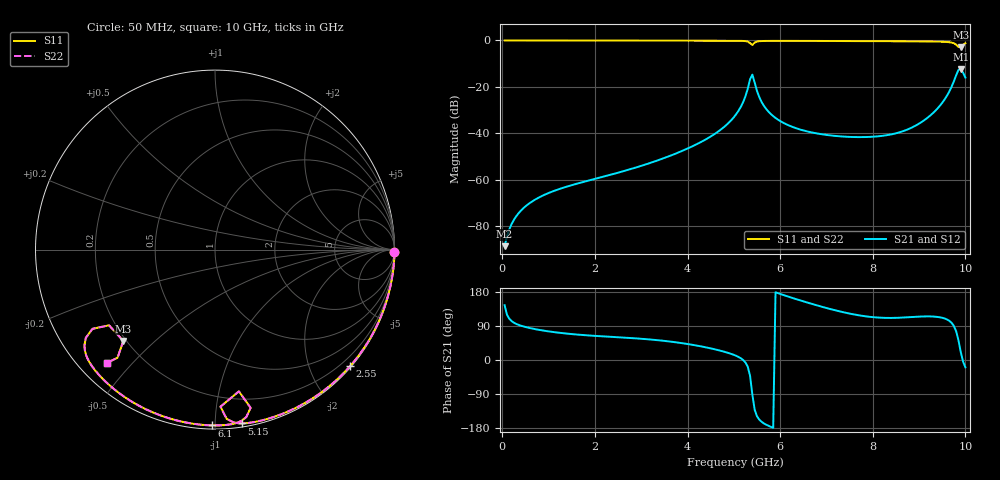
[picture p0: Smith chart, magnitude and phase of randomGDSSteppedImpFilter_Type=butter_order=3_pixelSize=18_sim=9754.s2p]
! freq	dB(S11)	phase(S11)	dB(S12)	phase(S12)
!  dB(S21)	phase(S21)	dB(S22)	phase(S22)
!S-par simulation data
#  GHz  S  DB  R 50
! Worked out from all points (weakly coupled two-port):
!   200 points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, 50 MHz to 10 GHz, reference 50 ohm
!   highest |S21| = -12.25 dB at 9.9 GHz (marker M1); lowest = -88.6 dB at 50 MHz (marker M2)
!   lowest |S11| = -2.8 dB at 9.9 GHz (marker M3), VSWR 6.17, Z = 9.45 - j20 ohm
!   |S11| at or under -10 dB: nowhere
!   |S22| runs from -2.8 to 0.0 dB; largest |S21 - S12| = 0
!   S11 on the Smith chart (normalised r, x): 50 MHz: open; 2.55 GHz: 0.02, -2.69; 5.15 GHz: 0.02, -1.17; 6.1 GHz: 0.02, -0.98; 10 GHz: 0.08, -0.43
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0.05  -0.00 -0.8  -88.56 144.6  -88.56 144.6  -0.00 -0.8
0.15  -0.00 -2.5  -81.39 109.1  -81.39 109.1  -0.00 -2.5
0.4  -0.01 -6.6  -73.30 90.6  -73.30 90.6  -0.01 -6.6
0.75  -0.01 -12.2  -68.04 80.5  -68.04 80.5  -0.01 -12.2
1.75  -0.04 -28.3  -60.91 65.8  -60.91 65.8  -0.04 -28.3
2.55  -0.05 -40.8  -56.65 59.7  -56.65 59.7  -0.05 -40.8
3.4  -0.07 -53.8  -51.31 51.7  -51.31 51.7  -0.07 -53.8
4.45  -0.10 -69.6  -41.95 32.0  -41.95 32.0  -0.10 -69.6
5.05  -0.14 -79.1  -31.76 11.1  -31.76 11.1  -0.14 -79.1
5.15  -0.18 -81.2  -28.60 4.6  -28.60 4.6  -0.18 -81.2
5.35  -1.15 -88.0  -16.70 -41.5  -16.70 -41.5  -1.15 -88.0
5.4  -1.93 -80.4  -14.72 -91.5  -14.72 -91.5  -1.93 -80.4
5.65  -0.22 -83.7  -28.17 -167.4  -28.17 -167.4  -0.22 -83.7
6.1  -0.18 -91.1  -35.78 170.2  -35.78 170.2  -0.18 -91.1
6.7  -0.20 -99.5  -39.67 147.5  -39.67 147.5  -0.20 -99.5
8.35  -0.32 -121.4  -40.63 110.9  -40.63 110.9  -0.32 -121.4
8.85  -0.38 -128.2  -37.43 113.5  -37.43 113.5  -0.38 -128.2
9.3  -0.46 -134.8  -31.26 114.7  -31.26 114.7  -0.46 -134.8
9.55  -0.59 -139.5  -25.42 109.6  -25.42 109.6  -0.59 -139.5
9.75  -1.19 -145.7  -17.65 90.1  -17.65 90.1  -1.19 -145.7
9.9  -2.84 -135.1  -12.25 21.1  -12.25 21.1  -2.84 -135.1
10  -1.20 -133.6  -15.98 -19.3  -15.98 -19.3  -1.20 -133.6
